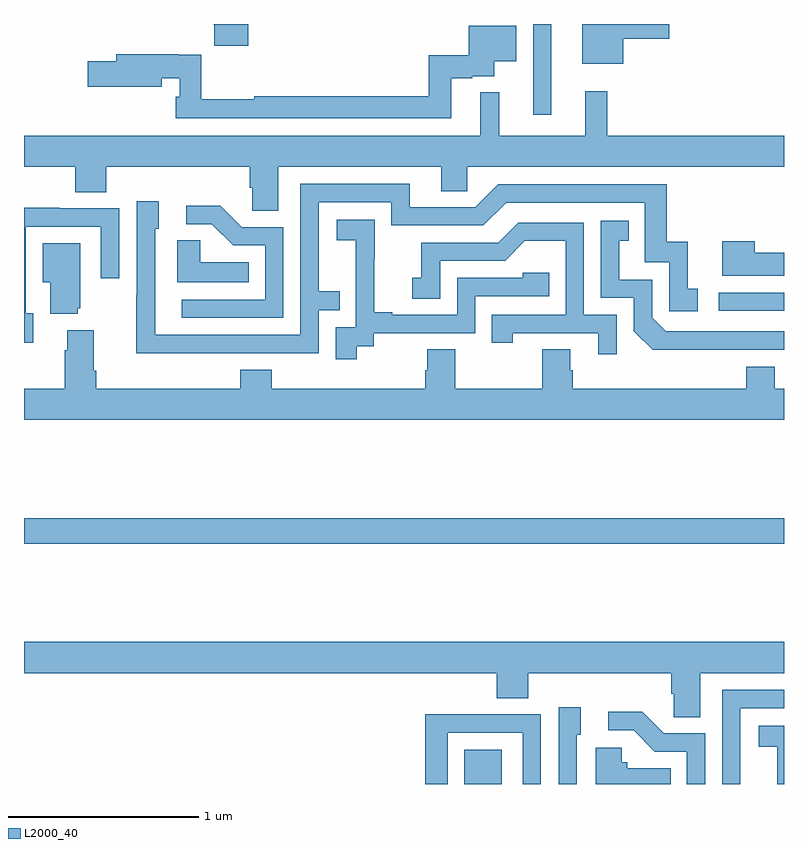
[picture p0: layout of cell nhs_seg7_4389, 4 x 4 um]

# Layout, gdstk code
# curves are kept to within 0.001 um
import gdstk
lib = gdstk.Library(unit=1e-6, precision=1e-09)
def R(c, l, rs):  # rectangles x0, y0, x1, y1
    for r in rs: c.add(gdstk.rectangle(r[:2], r[2:], *l))
def P(c, l, *ps):  # polygons
    for p in ps: c.add(gdstk.Polygon(p, *l))
L2000_40 = (2000, 40)

nhs_seg7_4389 = lib.new_cell('nhs_seg7_4389')
R(nhs_seg7_4389, L2000_40, [(389.318,1032,389.515,1032.181), (387,1033.264,391,1033.4), (390.657,1034.49,391,1034.586), (389.679,1035.522,389.776,1036)])
P(nhs_seg7_4389, L2000_40, [(390.154,1035.923),(390.397,1035.923),(390.397,1036),(389.939,1036),(389.939,1035.791),(390.154,1035.791)],
  [(388.181,1036),(387.998,1036),(387.998,1035.997),(388,1035.997),(388,1035.885),(388.181,1035.885)],
  [(389.248,1035.714),(389.358,1035.714),(389.358,1035.726),(389.476,1035.726),(389.476,1035.803),(389.59,1035.803),(389.59,1035.991),(389.342,1035.991),(389.342,1035.835),(389.131,1035.835),(389.131,1035.62),(388.212,1035.62),(388.212,1035.605),(387.933,1035.605),(387.933,1035.839),(387.812,1035.839),(387.812,1035.842),(387.485,1035.842),(387.485,1035.805),(387.336,1035.805),(387.336,1035.671),(387.724,1035.671),(387.724,1035.714),(387.819,1035.714),(387.819,1035.618),(387.799,1035.618),(387.799,1035.504),(389.248,1035.504)],
  [(388.339,1035.248),(389.195,1035.248),(389.195,1035.121),(389.334,1035.121),(389.334,1035.248),(391,1035.248),(391,1035.412),(390.071,1035.412),(390.071,1035.646),(389.954,1035.646),(389.954,1035.412),(389.501,1035.412),(389.501,1035.641),(389.402,1035.641),(389.402,1035.412),(387,1035.412),(387,1035.248),(387.269,1035.248),(387.269,1035.115),(387.434,1035.115),(387.434,1035.248),(388.187,1035.248),(388.187,1035.139),(388.2,1035.139),(388.2,1035.016),(388.339,1035.016)],
  [(388.055,1034.268),(388.551,1034.268),(388.551,1034.493),(388.661,1034.493),(388.661,1034.594),(388.551,1034.594),(388.551,1035.063),(388.932,1035.063),(388.932,1034.94),(389.418,1034.94),(389.538,1035.06),(390.267,1035.06),(390.267,1034.745),(390.396,1034.745),(390.396,1034.487),(390.547,1034.487),(390.547,1034.607),(390.494,1034.607),(390.494,1034.853),(390.383,1034.853),(390.383,1035.156),(389.496,1035.156),(389.376,1035.036),(389.029,1035.036),(389.029,1035.159),(388.455,1035.159),(388.455,1034.364),(387.69,1034.364),(387.69,1034.922),(387.709,1034.922),(387.709,1035.067),(387.594,1035.067),(387.594,1034.573),(387.592,1034.573),(387.592,1034.267)],
  [(388.365,1034.931),(388.146,1034.931),(388.033,1035.044),(387.855,1035.044),(387.855,1034.946),(387.989,1034.946),(388.1,1034.835),(388.269,1034.835),(388.269,1034.55),(387.831,1034.55),(387.831,1034.454),(388.365,1034.454)],
  [(387.049,1034.478),(387.009,1034.478),(387.009,1034.934),(387.405,1034.934),(387.405,1034.661),(387.501,1034.661),(387.501,1035.03),(387.185,1035.03),(387.185,1035.032),(387,1035.032),(387,1034.322),(387.049,1034.322)],
  [(388.75,1034.305),(388.842,1034.305),(388.842,1034.373),(389.376,1034.373),(389.376,1034.568),(389.765,1034.568),(389.765,1034.691),(389.625,1034.691),(389.625,1034.664),(389.28,1034.664),(389.28,1034.469),(388.939,1034.469),(388.939,1034.482),(388.844,1034.482),(388.844,1034.765),(388.845,1034.765),(388.845,1034.971),(388.647,1034.971),(388.647,1034.861),(388.745,1034.861),(388.745,1034.632),(388.746,1034.632),(388.746,1034.403),(388.641,1034.403),(388.641,1034.235),(388.75,1034.235)],
  [(390.716,1034.286),(391,1034.286),(391,1034.382),(390.378,1034.382),(390.306,1034.454),(390.306,1034.655),(390.133,1034.655),(390.133,1034.859),(390.182,1034.859),(390.182,1034.965),(390.036,1034.965),(390.036,1034.559),(390.21,1034.559),(390.21,1034.382),(390.308,1034.285)],
  [(390.12,1034.469),(389.946,1034.469),(389.946,1034.955),(389.6,1034.955),(389.495,1034.85),(389.092,1034.85),(389.092,1034.665),(389.043,1034.665),(389.043,1034.555),(389.19,1034.555),(389.19,1034.754),(389.532,1034.754),(389.636,1034.858),(389.85,1034.858),(389.85,1034.469),(389.461,1034.469),(389.461,1034.322),(389.572,1034.322),(389.572,1034.373),(390.023,1034.373),(390.023,1034.262),(390.12,1034.262)],
  [(388.184,1034.746),(387.927,1034.746),(387.927,1034.861),(387.806,1034.861),(387.806,1034.642),(388.184,1034.642)],
  [(391,1034.797),(390.845,1034.797),(390.845,1034.857),(390.674,1034.857),(390.674,1034.675),(391,1034.675)],
  [(387.284,1034.505),(387.295,1034.505),(387.295,1034.845),(387.098,1034.845),(387.098,1034.642),(387.137,1034.642),(387.137,1034.474),(387.284,1034.474)],
  [(391,1034.08),(390.952,1034.08),(390.952,1034.197),(390.8,1034.197),(390.8,1034.08),(389.888,1034.08),(389.888,1034.178),(389.875,1034.178),(389.875,1034.288),(389.728,1034.288),(389.728,1034.08),(389.271,1034.08),(389.271,1034.288),(389.123,1034.288),(389.123,1034.178),(389.111,1034.178),(389.111,1034.08),(388.304,1034.08),(388.304,1034.179),(388.139,1034.179),(388.139,1034.08),(387.38,1034.08),(387.38,1034.176),(387.367,1034.176),(387.367,1034.389),(387.227,1034.389),(387.227,1034.282),(387.215,1034.282),(387.215,1034.08),(387,1034.08),(387,1033.916),(391,1033.916)],
  [(390.559,1032.584),(391,1032.584),(391,1032.748),(387,1032.748),(387,1032.584),(389.489,1032.584),(389.489,1032.451),(389.654,1032.451),(389.654,1032.584),(390.407,1032.584),(390.407,1032.475),(390.42,1032.475),(390.42,1032.352),(390.559,1032.352)],
  [(390.771,1032.399),(391,1032.399),(391,1032.495),(390.675,1032.495),(390.675,1032),(390.771,1032)],
  [(389.91,1032.258),(389.929,1032.258),(389.929,1032.403),(389.814,1032.403),(389.814,1032),(389.91,1032)],
  [(390.585,1032.267),(390.366,1032.267),(390.253,1032.38),(390.075,1032.38),(390.075,1032.282),(390.209,1032.282),(390.32,1032.171),(390.489,1032.171),(390.489,1032),(390.585,1032)],
  [(389.229,1032.27),(389.625,1032.27),(389.625,1032),(389.721,1032),(389.721,1032.366),(389.405,1032.366),(389.405,1032.368),(389.113,1032.368),(389.113,1032),(389.229,1032)],
  [(391,1032.307),(390.867,1032.307),(390.867,1032.197),(390.965,1032.197),(390.965,1032),(391,1032)],
  [(390.404,1032.082),(390.174,1032.082),(390.174,1032.114),(390.147,1032.114),(390.147,1032.19),(390.008,1032.19),(390.008,1032),(390.404,1032)])

lib.write_gds('nhs_seg7_4389.gds')
